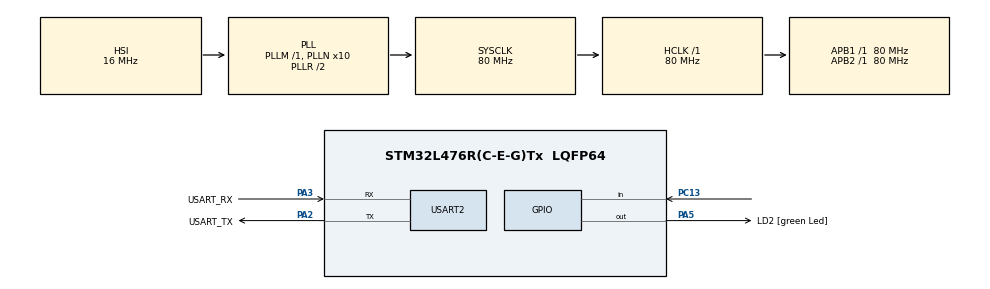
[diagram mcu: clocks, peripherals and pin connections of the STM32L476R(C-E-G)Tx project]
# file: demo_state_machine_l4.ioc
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Mcu.Family=STM32L4
Mcu.Name=STM32L476R(C-E-G)Tx
Mcu.Package=LQFP64
NVIC.PriorityGroup=NVIC_PRIORITYGROUP_4
PA13\ (JTMS-SWDIO).GPIO_Label=TMS
PA13\ (JTMS-SWDIO).Mode=Serial_Wire
PA13\ (JTMS-SWDIO).Signal=SYS_JTMS-SWDIO
PA14\ (JTCK-SWCLK).GPIO_Label=TCK
PA14\ (JTCK-SWCLK).Mode=Serial_Wire
PA14\ (JTCK-SWCLK).Signal=SYS_JTCK-SWCLK
PA2.GPIO_Label=USART_TX
PA2.GPIO_Mode=GPIO_MODE_AF_PP
PA2.GPIO_PuPd=GPIO_NOPULL
PA2.GPIO_Speed=GPIO_SPEED_FREQ_VERY_HIGH
PA2.Mode=Asynchronous
PA2.Signal=USART2_TX
PA3.GPIO_Label=USART_RX
PA3.GPIO_Mode=GPIO_MODE_AF_PP
PA3.GPIO_PuPd=GPIO_NOPULL
PA3.GPIO_Speed=GPIO_SPEED_FREQ_VERY_HIGH
PA3.Mode=Asynchronous
PA3.Signal=USART2_RX
PA5.GPIO_Label=LD2 [green Led]
PA5.GPIO_ModeDefaultOutputPP=GPIO_MODE_OUTPUT_PP
PA5.GPIO_PuPd=GPIO_NOPULL
PA5.GPIO_Speed=GPIO_SPEED_FREQ_LOW
PA5.Signal=GPIO_Output
PB3\ (JTDO-TRACESWO).GPIO_Label=SWO
PB3\ (JTDO-TRACESWO).Signal=SYS_JTDO-SWO
PC13.Signal=GPIO_Input
PC14-OSC32_IN\ (PC14).Mode=LSE-External-Oscillator
PC14-OSC32_IN\ (PC14).Signal=RCC_OSC32_IN
PC15-OSC32_OUT\ (PC15).Mode=LSE-External-Oscillator
PC15-OSC32_OUT\ (PC15).Signal=RCC_OSC32_OUT
PH0-OSC_IN\ (PH0).Signal=RCC_OSC_IN
PH1-OSC_OUT\ (PH1).Signal=RCC_OSC_OUT
ProjectManager.HeapSize=0x200
ProjectManager.StackSize=0x400
ProjectManager.TargetToolchain=STM32CubeIDE
RCC.ADCFreq_Value=64000000
RCC.AHBFreq_Value=80000000
RCC.APB1Freq_Value=80000000
RCC.APB1TimFreq_Value=80000000
RCC.APB2Freq_Value=80000000
RCC.APB2TimFreq_Value=80000000
RCC.CortexFreq_Value=80000000
RCC.HCLKFreq_Value=80000000
RCC.HSE_VALUE=8000000
RCC.HSI_VALUE=16000000
RCC.MSI_VALUE=4000000
RCC.PLLN=10
RCC.PLLSourceVirtual=RCC_PLLSOURCE_HSI
RCC.PREFETCH_ENABLE=1
RCC.SYSCLKFreq_VALUE=80000000
RCC.SYSCLKSource=RCC_SYSCLKSOURCE_PLLCLK
RCC.USBFreq_Value=64000000
RCC.VCOOutputFreq_Value=160000000
USART2.VirtualMode-Asynchronous=VM_ASYNC
board=NUCLEO-L476RG

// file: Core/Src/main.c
/* USER CODE BEGIN Header */
/**
  ******************************************************************************
  * @file           : main.c
  * @brief          : Main program body
  ******************************************************************************
  * @attention
  *
  * Copyright (c) 2023 STMicroelectronics.
  * All rights reserved.
  *
  * This software is licensed under terms that can be found in the LICENSE file
  * in the root directory of this software component.
  * If no LICENSE file comes with this software, it is provided AS-IS.
  *
  ******************************************************************************
  */
/* USER CODE END Header */
#include "main.h"
#include "usart.h"
#include "gpio.h"

/* USER CODE BEGIN Includes */
#include "library/log/log.h"

/* USER CODE END Includes */

void SystemClock_Config(void);

/* USER CODE BEGIN 0 */

typedef enum {
	  STATE_OFF,
	  STATE_ON
} state_t;

typedef struct {
	  state_t current_state;
	  void (*state_handler)(void);
} state_machine_t;

static state_machine_t state_machine;

void turn_led_on(void) {
	  HAL_GPIO_WritePin(GPIOA, GPIO_PIN_5, GPIO_PIN_SET);
}

void turn_led_off(void) {
	  HAL_GPIO_WritePin(GPIOA, GPIO_PIN_5, GPIO_PIN_RESET);
}

void read_button_state(state_machine_t *state_machine) {
	  if (HAL_GPIO_ReadPin(GPIOC, GPIO_PIN_13) == GPIO_PIN_RESET) {
		  state_machine->current_state = STATE_ON;
		  state_machine->state_handler = turn_led_off;
	  } else {
		  state_machine->current_state = STATE_OFF;
		  state_machine->state_handler = turn_led_on;
	  }
}

void transition_state(state_machine_t *state_machine) {
    switch (state_machine->current_state) {
        case STATE_OFF:
            state_machine->current_state = STATE_ON;
            state_machine->state_handler = turn_led_on;
            HAL_Delay(1000);
            break;
        case STATE_ON:
            state_machine->current_state = STATE_OFF;
            state_machine->state_handler = turn_led_off;
            HAL_Delay(1000);
            break;
        default:
            break;
    }
}

/* USER CODE END 0 */

int main(void)
{

  /* MCU Configuration--------------------------------------------------------*/

  /* Reset of all peripherals, Initializes the Flash interface and the Systick. */
  HAL_Init();

  /* Configure the system clock */
  SystemClock_Config();

  /* Initialize all configured peripherals */
  MX_GPIO_Init();
  MX_USART2_UART_Init();
  /* USER CODE BEGIN 2 */

  state_machine.current_state = STATE_OFF;
  state_machine.state_handler = turn_led_off;

  /* USER CODE END 2 */

  /* Infinite loop */
  while (1)
  {

    /* USER CODE BEGIN 3 */
//	HAL_GPIO_WritePin(GPIOA, GPIO_PIN_5, GPIO_PIN_SET);
//	HAL_Delay(1000);
//	HAL_GPIO_WritePin(GPIOA, GPIO_PIN_5, GPIO_PIN_RESET);
//	HAL_Delay(1000);

//	read_button_state(&state_machine);
	log_info("Hello Sourabh");
	transition_state(&state_machine);
	state_machine.state_handler();
  }
  /* USER CODE END 3 */
}

void SystemClock_Config(void)
{
  RCC_OscInitTypeDef RCC_OscInitStruct = {0};
  RCC_ClkInitTypeDef RCC_ClkInitStruct = {0};

  /** Configure the main internal regulator output voltage
  */
  if (HAL_PWREx_ControlVoltageScaling(PWR_REGULATOR_VOLTAGE_SCALE1) != HAL_OK)
  {
    Error_Handler();
  }

  /** Initializes the RCC Oscillators according to the specified parameters
  * in the RCC_OscInitTypeDef structure.
  */
  RCC_OscInitStruct.OscillatorType = RCC_OSCILLATORTYPE_HSI;
  RCC_OscInitStruct.HSIState = RCC_HSI_ON;
  RCC_OscInitStruct.HSICalibrationValue = RCC_HSICALIBRATION_DEFAULT;
  RCC_OscInitStruct.PLL.PLLState = RCC_PLL_ON;
  RCC_OscInitStruct.PLL.PLLSource = RCC_PLLSOURCE_HSI;
  RCC_OscInitStruct.PLL.PLLM = 1;
  RCC_OscInitStruct.PLL.PLLN = 10;
  RCC_OscInitStruct.PLL.PLLP = RCC_PLLP_DIV7;
  RCC_OscInitStruct.PLL.PLLQ = RCC_PLLQ_DIV2;
  RCC_OscInitStruct.PLL.PLLR = RCC_PLLR_DIV2;
  if (HAL_RCC_OscConfig(&RCC_OscInitStruct) != HAL_OK)
  {
    Error_Handler();
  }

  /** Initializes the CPU, AHB and APB buses clocks
  */
  RCC_ClkInitStruct.ClockType = RCC_CLOCKTYPE_HCLK|RCC_CLOCKTYPE_SYSCLK
                              |RCC_CLOCKTYPE_PCLK1|RCC_CLOCKTYPE_PCLK2;
  RCC_ClkInitStruct.SYSCLKSource = RCC_SYSCLKSOURCE_PLLCLK;
  RCC_ClkInitStruct.AHBCLKDivider = RCC_SYSCLK_DIV1;
  RCC_ClkInitStruct.APB1CLKDivider = RCC_HCLK_DIV1;
  RCC_ClkInitStruct.APB2CLKDivider = RCC_HCLK_DIV1;

  if (HAL_RCC_ClockConfig(&RCC_ClkInitStruct, FLASH_LATENCY_4) != HAL_OK)
  {
    Error_Handler();
  }
}

void Error_Handler(void)
{
  __disable_irq();
  while (1)
  {
  }
}
